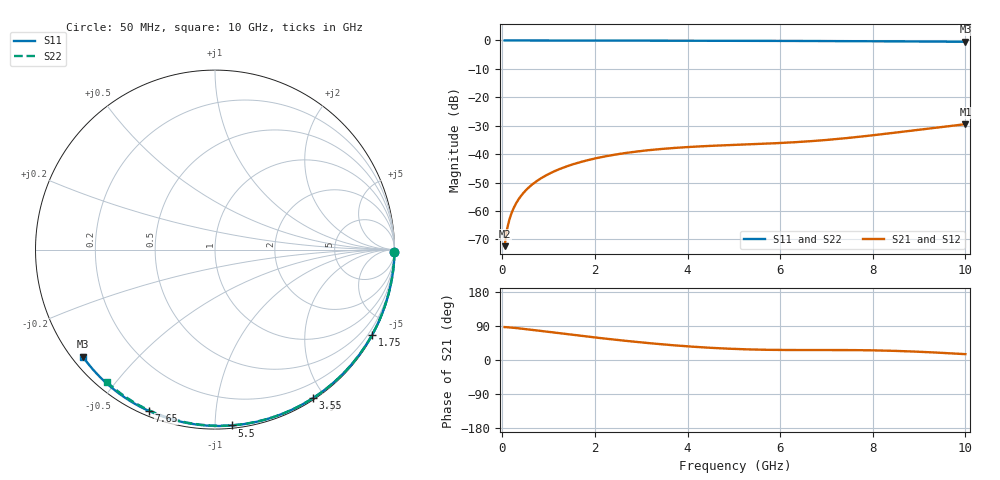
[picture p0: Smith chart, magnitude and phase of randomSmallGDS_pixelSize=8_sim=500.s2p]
! freq	dB(S11)	phase(S11)	dB(S12)	phase(S12)
!  dB(S21)	phase(S21)	dB(S22)	phase(S22)
!S-par simulation data
#  GHz  S  DB  R 50
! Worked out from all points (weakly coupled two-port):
!   200 points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, 50 MHz to 10 GHz, reference 50 ohm
!   highest |S21| = -29.47 dB at 10 GHz (marker M1); lowest = -72.4 dB at 50 MHz (marker M2)
!   lowest |S11| = -0.5 dB at 10 GHz (marker M3), VSWR 37.20, Z = 1.51 - j17.7 ohm
!   |S11| at or under -10 dB: nowhere
!   |S22| runs from -0.4 to 0.0 dB; largest |S21 - S12| = 0
!   S11 on the Smith chart (normalised r, x): 50 MHz: open; 1.75 GHz: 0.03, -3.92; 3.55 GHz: 0.02, -1.86; 5.5 GHz: 0.02, -1.10; 7.65 GHz: 0.02, -0.67; 10 GHz: 0.03, -0.35
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0.05  -0.00 -0.8  -72.41 86.9  -72.41 86.9  -0.00 -0.8
0.1  -0.00 -1.7  -66.63 86.3  -66.63 86.3  -0.00 -1.5
0.15  -0.00 -2.5  -63.21 85.9  -63.21 85.9  -0.00 -2.3
0.2  -0.00 -3.3  -60.75 85.5  -60.75 85.5  -0.00 -3.0
0.25  -0.00 -4.2  -58.84 84.9  -58.84 84.9  -0.00 -3.8
0.35  -0.00 -5.8  -55.95 83.7  -55.95 83.7  -0.00 -5.3
0.5  -0.01 -8.3  -52.89 81.6  -52.89 81.6  -0.01 -7.6
0.7  -0.01 -11.6  -50.02 78.6  -50.02 78.6  -0.01 -10.6
1  -0.02 -16.5  -47.02 74.1  -47.02 74.1  -0.02 -15.0
1.35  -0.03 -22.2  -44.57 68.9  -44.57 68.9  -0.03 -20.2
1.75  -0.04 -28.6  -42.54 63.0  -42.54 63.0  -0.03 -26.1
2.5  -0.05 -40.5  -40.02 52.7  -40.02 52.7  -0.05 -36.9
3.4  -0.07 -54.3  -38.25 41.9  -38.25 41.9  -0.07 -49.6
3.55  -0.08 -56.5  -38.04 40.4  -38.04 40.4  -0.07 -51.7
4.3  -0.10 -67.6  -37.26 33.6  -37.26 33.6  -0.09 -61.8
5.05  -0.12 -78.2  -36.73 29.0  -36.73 29.0  -0.11 -71.7
5.5  -0.14 -84.4  -36.45 27.4  -36.45 27.4  -0.12 -77.4
6.7  -0.19 -100.3  -35.41 26.3  -35.41 26.3  -0.18 -92.1
7.65  -0.25 -112.4  -34.01 26.0  -34.01 26.0  -0.23 -103.3
8.35  -0.30 -121.0  -32.71 24.5  -32.71 24.5  -0.28 -111.2
9.2  -0.38 -131.3  -31.03 20.6  -31.03 20.6  -0.35 -120.6
10  -0.47 -141.0  -29.47 15.4  -29.47 15.4  -0.43 -129.3
